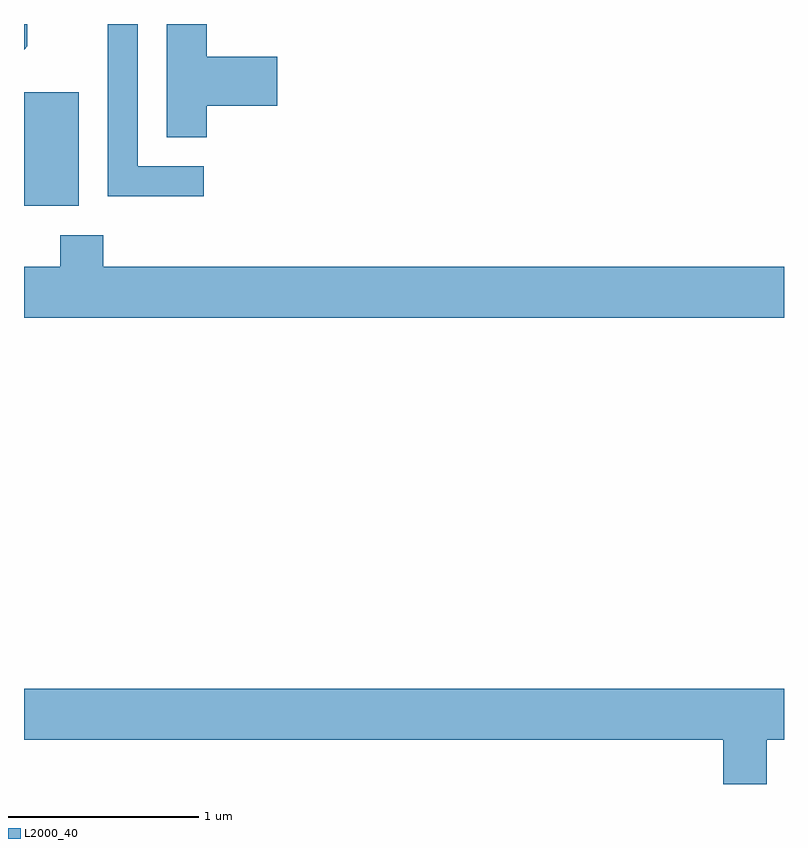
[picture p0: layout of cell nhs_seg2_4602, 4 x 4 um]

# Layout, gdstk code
import gdstk
lib = gdstk.Library(unit=1e-6, precision=1e-09)
def R(c, l, rs):  # rectangles x0, y0, x1, y1
    for r in rs: c.add(gdstk.rectangle(r[:2], r[2:], *l))
def P(c, l, *ps):  # polygons
    for p in ps: c.add(gdstk.Polygon(p, *l))
L2000_40 = (2000, 40)

nhs_seg2_4602 = lib.new_cell('nhs_seg2_4602')
R(nhs_seg2_4602, L2000_40, [(319.611,1108.846,319.899,1109.444)])
P(nhs_seg2_4602, L2000_40, [(320.574,1109.371),(320.944,1109.371),(320.944,1109.629),(320.574,1109.629),(320.574,1109.802),(320.361,1109.802),(320.361,1109.206),(320.574,1109.206)],
  [(319.629,1109.684),(319.629,1109.802),(319.611,1109.802),(319.611,1109.666)],
  [(320.558,1109.054),(320.209,1109.054),(320.209,1109.802),(320.051,1109.802),(320.051,1108.896),(320.558,1108.896)],
  [(323.611,1108.524),(320.029,1108.524),(320.029,1108.689),(319.801,1108.689),(319.801,1108.524),(319.611,1108.524),(319.611,1108.256),(323.611,1108.256)],
  [(323.519,1106.036),(323.611,1106.036),(323.611,1106.304),(319.611,1106.304),(319.611,1106.036),(323.291,1106.036),(323.291,1105.802),(323.519,1105.802)])

lib.write_gds('nhs_seg2_4602.gds')
